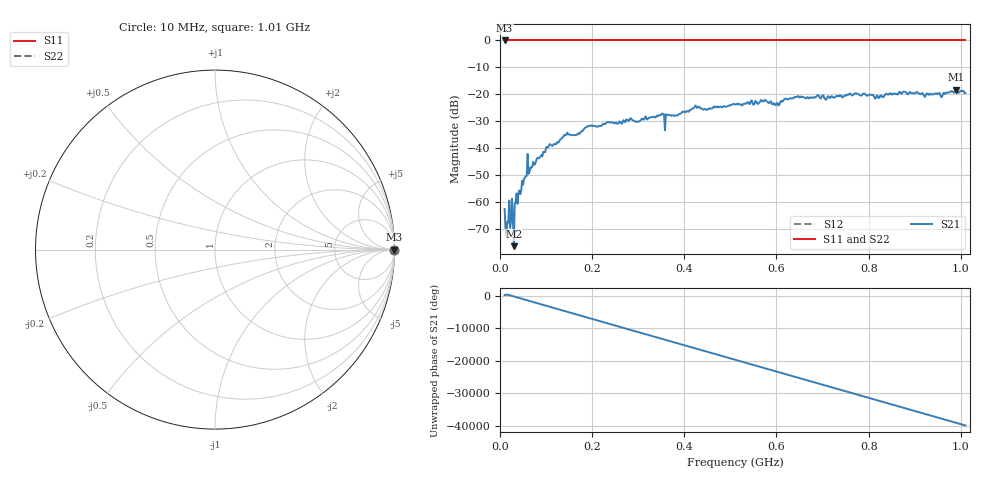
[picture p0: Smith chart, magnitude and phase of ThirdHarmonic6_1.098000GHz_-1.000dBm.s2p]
! 8/16/2025 10:18:00 AM
! C:\ANRITSUVNA\TEMP\TEMP.S2P
! CHANNEL.1
! TR.MEASUREMENT
! RAW.DATA
! RF.CORRECTION.OFF
! AVERAGING.OFF
! IF.BANDWIDTH: 5KHZ
! SWEEPTYPE:  FREQ.SWEEP(Linear)
! Reference Plane Port Info
! PORT:  PORT1  PORT2
! DISTANCE:  0  m  0  m
! TIME:  0  s  0  s
! PHASE.OFFSET:  0  deg.  0  deg.
! LOSS:  0  dB  0  dB
! REF.LOSS:  0  dB  0  dB
! REF.FREQ:  0  Hz  0  Hz
! Power Info
! POWER:  -20  dBm  -20  dBm
! EFF.POWER:  -20  dBm  -20  dBm
! SOURCE.ATTEN:  0  dB  0  dB
! TEST.ATTEN:  0  dB  0  dB
# GHZ S RI R 50.0
! FREQ.GHZ  S11RE  S11IM  S21RE  S21IM  S12RE  S12IM  S22RE  S22IM
!; PortSelection: Port_12
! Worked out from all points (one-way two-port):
!   501 points, 10 MHz to 1.01 GHz, reference 50 ohm
!   highest |S21| = -18.31 dB at 990 MHz (marker M1); lowest = -76.4 dB at 30 MHz (marker M2)
!   lowest |S11| = 0.0 dB at 10 MHz (marker M3)
!   |S11| at or under -10 dB: nowhere
!   |S22| runs from 0.0 to 0.0 dB; largest |S21 - S12| = 1.1
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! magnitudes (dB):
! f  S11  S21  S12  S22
! 10 MHz  0.0  -62.6  0.0  0.0
! 14 MHz  0.0  -72.4  0.0  0.0
! 24 MHz  0.0  -66.9  0.0  0.0
! 26 MHz  0.0  -58.8  0.0  0.0
! 30 MHz  0.0  -76.4  0.0  0.0
! 34 MHz  0.0  -59.8  0.0  0.0
! 36 MHz  0.0  -56.8  0.0  0.0
! 56 MHz  0.0  -50.4  0.0  0.0
! 64 MHz  0.0  -48.9  0.0  0.0
! 104 MHz  0.0  -39.8  0.0  0.0
! 142 MHz  0.0  -35.3  0.0  0.0
! 178 MHz  0.0  -33.6  0.0  0.0
! 194 MHz  0.0  -31.7  0.0  0.0
! 344 MHz  0.0  -28.0  0.0  0.0
! 510 MHz  0.0  -23.8  0.0  0.0
! 572 MHz  0.0  -22.6  0.0  0.0
! 602 MHz  0.0  -23.2  0.0  0.0
! 644 MHz  0.0  -21.0  0.0  0.0
! 678 MHz  0.0  -21.4  0.0  0.0
! 844 MHz  0.0  -20.0  0.0  0.0
! 990 MHz  0.0  -18.3  0.0  0.0
! 1.01 GHz  0.0  -19.5  0.0  0.0
